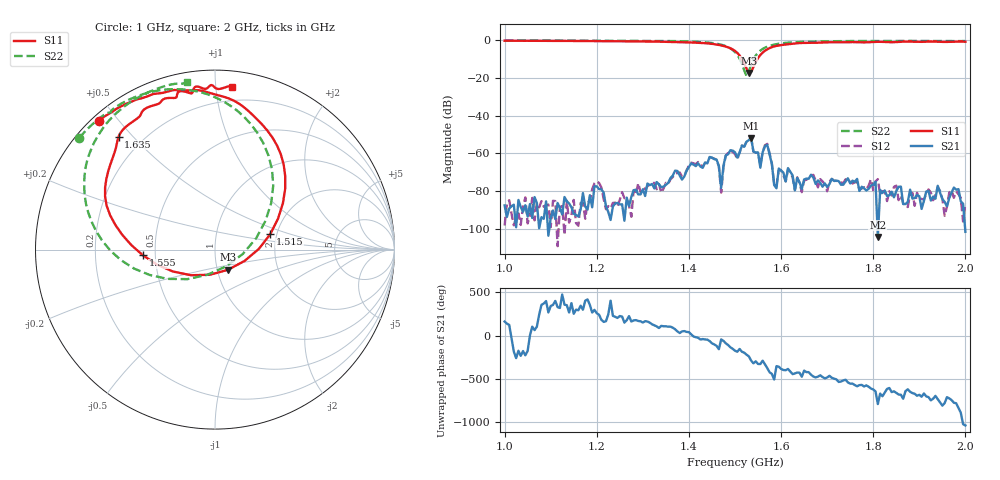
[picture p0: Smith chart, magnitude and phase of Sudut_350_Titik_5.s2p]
# Hz S RI R 50
! CMT, C1220, 16058040, 17.2.0/1
! Date: 14/08/2018 11:51:51
! Data: Format (Calibration Info)
! Freq  S11: Re/Im (F2)  S21: Re/Im (F2)  S12: Re/Im (F2)  S22: Re/Im (F2)
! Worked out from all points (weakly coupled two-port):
!   201 points, 1 GHz to 2 GHz, reference 50 ohm
!   highest |S21| = -51.84 dB at 1.535 GHz (marker M1); lowest = -104.4 dB at 1.81 GHz (marker M2)
!   lowest |S11| = -17.5 dB at 1.53 GHz (marker M3), VSWR 1.31, Z = 56.3 - j12.9 ohm
!   |S11| at or under -10 dB: 1.515 GHz to 1.549 GHz (33.55 MHz wide, 2.19 % of centre)
!   |S22| runs from -19.0 to -0.2 dB; largest |S21 - S12| = 0.00021
!   S11 on the Smith chart (normalised r, x): 1 GHz: 0.02, +0.44; 1.515 GHz: 1.85, +0.35; 1.555 GHz: 0.43, -0.03; 1.635 GHz: 0.11, +0.46; 2 GHz: 0.11, +1.11
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1e9  -0.6485 0.7152  -3.94e-05 1.29e-05  -1.21e-05 -1.3e-07  -0.7554 0.6238
1.17e9  -0.4706 0.8224  4.14e-05 -7.77e-05  4.51e-05 -1.85e-05  -0.6188 0.7501
1.335e9  -0.2073 0.8877  7.37e-06 0.000151  -4.1e-05 0.000147  -0.4017 0.8656
1.445e9  0.1599 0.7941  0.000355 -0.000717  0.000331 -0.000702  -0.0103 0.8535
1.465e9  0.2619 0.6978  -0.000424 -0.000178  -0.000424 -0.000143  0.1247 0.7732
1.47e9  0.2913 0.6634  8.72e-05 -8.48e-05  8.33e-05 -3.62e-05  0.1615 0.7402
1.48e9  0.3456 0.5802  1.23e-05 -0.000876  3e-05 -0.000869  0.2354 0.6511
1.5e9  0.391 0.3383  -0.00106 -9.7e-05  -0.000956 -7.43e-05  0.3244 0.3556
1.515e9  0.3078 0.0859  -0.00159 0.000172  -0.00161 0.000122  0.2296 0.0636
1.53e9  0.0725 -0.1125  -0.00114 0.00192  -0.00119 0.002  -0.0434 -0.1405
1.535e9  -0.0282 -0.1401  0.000816 0.00242  0.000886 0.00243  -0.1543 -0.1645
1.555e9  -0.4024 -0.0312  0.000353 0.000218  0.000376 0.000287  -0.5238 -0.0588
1.57e9  -0.5551 0.1375  0.00163 -0.000439  0.00171 -0.000488  -0.663 0.1043
1.59e9  -0.6121 0.3472  0.000117 1.55e-05  0.000137 2.6e-05  -0.7258 0.2987
1.595e9  -0.6053 0.3939  0.000394 5.19e-06  0.00036 1.22e-05  -0.7283 0.3389
1.635e9  -0.537 0.6292  8.96e-05 -0.000202  0.000116 -0.0002  -0.6888 0.5617
1.645e9  -0.5148 0.6662  -4.67e-05 -0.000103  -1.52e-05 -9.23e-05  -0.6721 0.5988
1.67e9  -0.4332 0.7306  -8.68e-05 -0.00021  -7.37e-05 -0.000258  -0.6284 0.671
1.7e9  -0.3925 0.7826  -6.95e-05 -0.000106  -3.5e-05 -9.18e-05  -0.5785 0.7318
1.81e9  -0.1969 0.8818  2.07e-06 -5.69e-06  0.000163 0.000127  -0.4117 0.8572
1.835e9  -0.1386 0.8712  -3.27e-05 7.04e-05  -6.93e-06 9.83e-05  -0.3784 0.8737
2e9  0.0956 0.9038  6.03e-06 5.65e-06  8.48e-06 -4.68e-05  -0.1534 0.9339
